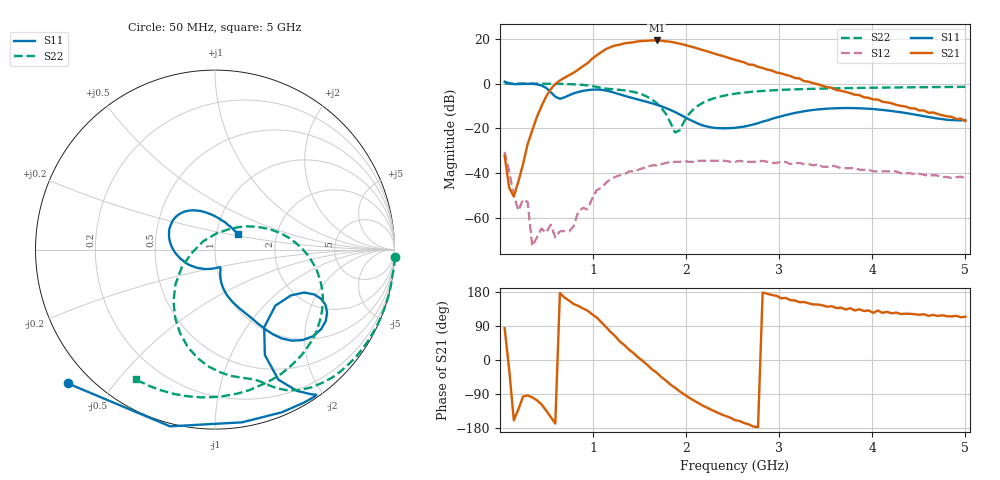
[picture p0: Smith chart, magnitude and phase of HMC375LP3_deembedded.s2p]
!Hittite Microwave Corporation
!12 Elizabeth Drive
!Chelmsford, MA 01824
!Tel: 978-250-3343
!Fax: 978-250-3373
!Device: HMC375LP3, 1.7-2.2 GHz, GaAs MMIC Low Noise Amplifier in leadless QFN SMT package
!Misc: Vs = 5V, data is deembedded to the pins of the device, Room
# MHZ S MA R 50
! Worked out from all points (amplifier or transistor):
!   101 points, 50 MHz to 5 GHz, reference 50 ohm
!   highest |S21| = 19.3 dB at 1.683 GHz (marker M1)
!   |S21| within 3 dB of that: 1.187 GHz to 2.078 GHz (891.3 MHz wide, 54.6 % of centre)
!   unconditionally stable (mu >= 1): 149 MHz to 193.9 MHz; 330.4 MHz to end of sweep
!   at 842 MHz: K = 9.58, MAG = 18.8 dB, |S12| = -57.0 dB
!   at 2.525 GHz: K = 5.22, MAG = 12.6 dB, |S12| = -34.9 dB
!   at 5 GHz: K = 121.09, MAG = -11.1 dB, |S12| = -42.2 dB
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50  1.108 -137.7  0.025 84.0  0.03 73.1  1.001 -2.4
149  0.974 -81.1  0.00304 -159.1  0.003147 -4.1  0.999 -8.3
297.5  0.989 -56.0  0.045 -93.3  0.002294 -124.6  1 -16.7
347  0.987 -55.1  0.09 -98.6  0.0002363 133.8  0.999 -19.5
545  0.65 -64.7  0.749 -150.2  0.0007104 -61.1  0.993 -31.1
891.5  0.689 -26.6  2.452 136.1  0.001684 5.8  0.937 -54.9
1040  0.739 -36.9  4.289 112.1  0.004208 -34.5  0.846 -66.0
1139  0.702 -45.9  5.895 87.2  0.006159 -61.8  0.777 -71.0
1238  0.62 -53.0  7.129 62.9  0.008288 -89.6  0.741 -75.8
1337  0.537 -57.2  7.934 39.3  0.009452 -108.6  0.709 -83.0
1485.5  0.441 -61.4  8.789 6.6  0.012 -133.7  0.614 -98.8
1584.5  0.389 -64.7  9.096 -13.3  0.014 -146.6  0.507 -112.4
1683.5  0.338 -68.7  9.195 -33.5  0.015 -160.8  0.369 -128.9
1733  0.313 -71.0  9.069 -44.9  0.016 -166.9  0.291 -139.0
1881.5  0.232 -77.3  8.206 -73.4  0.018 174.7  0.081 145.3
2079.5  0.143 -78.2  6.498 -106.5  0.018 155.9  0.268 28.3
2277.5  0.105 -73.1  4.869 -132.2  0.019 141.3  0.456 4.2
2525  0.103 -89.1  3.41 -158.8  0.018 128.7  0.595 -14.0
2871.5  0.151 -140.9  2.061 174.6  0.018 113.4  0.697 -32.1
3366.5  0.259 168.1  1.027 146.7  0.015 97.2  0.766 -53.4
4208  0.245 116.9  0.364 123.2  0.011 90.1  0.82 -89.1
5000  0.154 35.3  0.146 114.1  0.0078 90.4  0.847 -121.4
